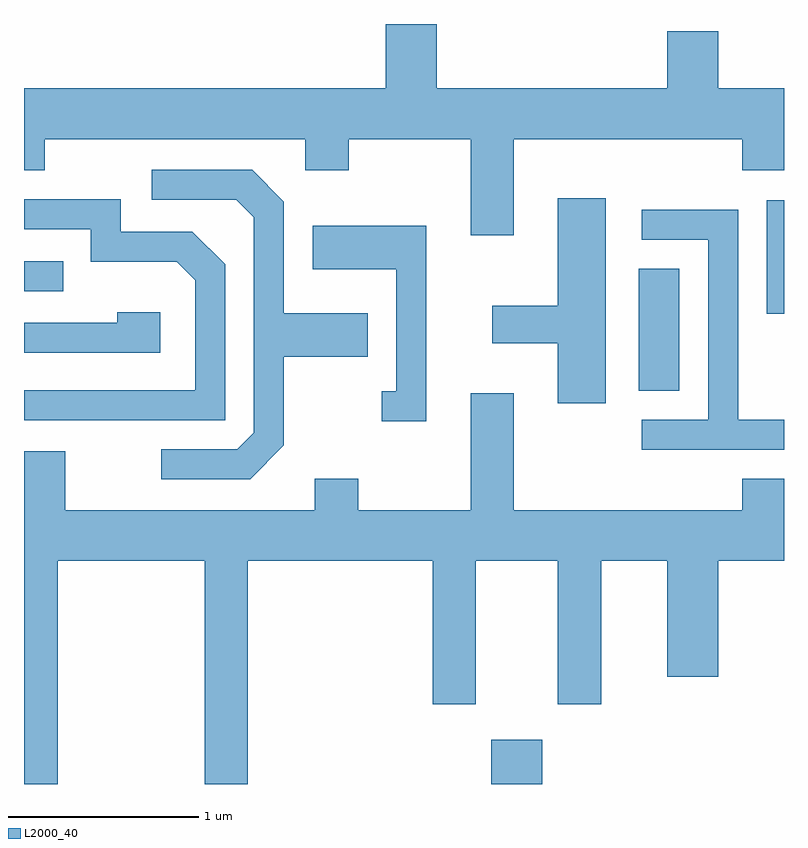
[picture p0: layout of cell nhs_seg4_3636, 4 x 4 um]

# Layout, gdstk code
import gdstk
lib = gdstk.Library(unit=1e-6, precision=1e-09)
def R(c, l, rs):  # rectangles x0, y0, x1, y1
    for r in rs: c.add(gdstk.rectangle(r[:2], r[2:], *l))
def P(c, l, *ps):  # polygons
    for p in ps: c.add(gdstk.Polygon(p, *l))
L2000_40 = (2000, 40)

nhs_seg4_3636 = lib.new_cell('nhs_seg4_3636')
R(nhs_seg4_3636, L2000_40, [(294.071,1317.982,294.339,1318.214), (294.846,1320.051,295.059,1320.694), (295.521,1320.456,295.611,1321.054), (291.611,1320.576,291.818,1320.734)])
P(nhs_seg4_3636, L2000_40, [(294.189,1321.376),(295.391,1321.376),(295.391,1321.211),(295.611,1321.211),(295.611,1321.644),(295.264,1321.644),(295.264,1321.944),(294.996,1321.944),(294.996,1321.644),(293.784,1321.644),(293.784,1321.982),(293.516,1321.982),(293.516,1321.644),(291.611,1321.644),(291.611,1321.211),(291.719,1321.211),(291.719,1321.376),(293.091,1321.376),(293.091,1321.211),(293.319,1321.211),(293.319,1321.376),(293.961,1321.376),(293.961,1320.871),(294.189,1320.871)],
  [(292.979,1319.764),(292.979,1320.231),(293.419,1320.231),(293.419,1320.459),(292.979,1320.459),(292.979,1321.047),(292.812,1321.214),(292.283,1321.214),(292.283,1321.056),(292.729,1321.056),(292.821,1320.964),(292.821,1319.832),(292.734,1319.744),(292.333,1319.744),(292.333,1319.586),(292.802,1319.586)],
  [(294.674,1321.064),(294.421,1321.064),(294.421,1320.499),(294.076,1320.499),(294.076,1320.301),(294.421,1320.301),(294.421,1319.986),(294.674,1319.986)],
  [(292.669,1320.717),(292.497,1320.889),(292.119,1320.889),(292.119,1321.059),(291.611,1321.059),(291.611,1320.901),(291.961,1320.901),(291.961,1320.731),(292.414,1320.731),(292.511,1320.634),(292.511,1320.054),(291.611,1320.054),(291.611,1319.896),(292.669,1319.896)],
  [(295.611,1319.899),(295.369,1319.899),(295.369,1321.004),(294.863,1321.004),(294.863,1320.846),(295.211,1320.846),(295.211,1319.899),(294.863,1319.899),(294.863,1319.741),(295.611,1319.741)],
  [(293.729,1320.919),(293.131,1320.919),(293.131,1320.691),(293.571,1320.691),(293.571,1320.049),(293.493,1320.049),(293.493,1319.891),(293.729,1319.891)],
  [(292.329,1320.464),(292.101,1320.464),(292.101,1320.409),(291.611,1320.409),(291.611,1320.251),(292.329,1320.251)],
  [(291.789,1319.156),(292.561,1319.156),(292.561,1317.982),(292.789,1317.982),(292.789,1319.156),(293.761,1319.156),(293.761,1318.401),(293.989,1318.401),(293.989,1319.156),(294.421,1319.156),(294.421,1318.401),(294.649,1318.401),(294.649,1319.156),(294.996,1319.156),(294.996,1318.546),(295.264,1318.546),(295.264,1319.156),(295.611,1319.156),(295.611,1319.589),(295.391,1319.589),(295.391,1319.424),(294.189,1319.424),(294.189,1320.039),(293.961,1320.039),(293.961,1319.424),(293.369,1319.424),(293.369,1319.589),(293.141,1319.589),(293.141,1319.424),(291.829,1319.424),(291.829,1319.734),(291.611,1319.734),(291.611,1317.982),(291.789,1317.982)])

lib.write_gds('nhs_seg4_3636.gds')
